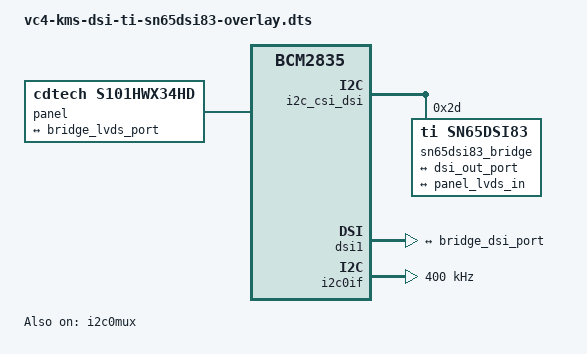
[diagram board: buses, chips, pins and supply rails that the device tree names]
/dts-v1/;
/plugin/;

#include <dt-bindings/gpio/gpio.h>

/ {
    compatible = "brcm,bcm2835";
    fragment@0 {
        target-path = "/";
        __overlay__ {
            //vdd_panel: fixedregulator {
            //    regulator-boot-on;
            //    compatible = "regulator-fixed";
            //    regulator-name = "lvds18";
            //    regulator-min-microvolt = <1800000>;
            //    regulator-max-microvolt = <1800000>;
            //    gpio = <&gpio 26 0>;
            //    startup-delay-us = <70000>;
            //    enable-active-high;
            //    vin-supply = <&vdd_3v3_reg>;
            //};

            //panel_rgb: panel {
            panel: panel {
              compatible = "cdtech,s101hwx34hd";
              // power-supply = <&vdd_panel>;
              status = "okay";
              port {
                panel_lvds_in: endpoint {
                  remote-endpoint = <&bridge_lvds_port>;
                };
              };
            };
        };
    };

    fragment@1 {
        //target = <&i2c1>;
        target = <&i2c_csi_dsi>;
        __overlay__ {
            #address-cells = <1>;
            #size-cells = <0>;
            status = "okay";

            sn65dsi83_bridge: bridge@2d {
                compatible = "ti,sn65dsi83";
                reg = <0x2d>;
                // status = "okay";
                // enable-gpios = <&gpio 7 0>;
                // power-supply = <&vdd_panel>;

                ports {                
                    #address-cells = <1>;
                    #size-cells = <0>;
                    port@0 {
                        reg = <0>; // TODO: double-check
                        bridge_dsi_port: endpoint {
                            // data-lanes = <1 2 3 4>;
                            data-lanes = <0 1 2>;
                            remote-endpoint = <&dsi_out_port>;
                        };
                    };

                    port@2{
                        reg = <2>;
                        bridge_lvds_port: endpoint {
                            remote-endpoint = <&panel_lvds_in>;
                        };
                    };
                };
            };
        };
    };

    fragment@2 {
        target = <&dsi1>;
        __overlay__ {
            status = "okay";
            port {
                dsi_out_port: endpoint {
                    remote-endpoint = <&bridge_dsi_port>;
                    // data-lanes = <0 1 2 3>;
                    data-lanes = <0 1 2>;
                };
            };
        };
    };

    fragment@3 {
		target = <&i2c0if>;
		__overlay__ {
			status = "okay";
            clock-frequency = <400000>;
		};
	};
		
	fragment@6 {
		target = <&i2c0mux>;
		__overlay__ {
			status = "okay";
		};
	};
};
